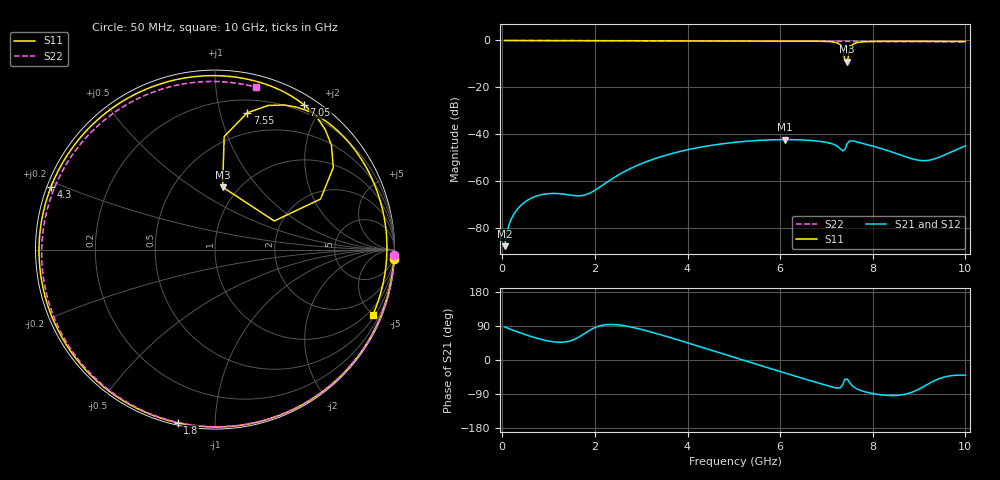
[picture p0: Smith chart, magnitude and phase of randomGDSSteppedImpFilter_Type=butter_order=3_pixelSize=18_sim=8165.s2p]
! freq	dB(S11)	phase(S11)	dB(S12)	phase(S12)
!  dB(S21)	phase(S21)	dB(S22)	phase(S22)
!S-par simulation data
#  GHz  S  DB  R 50
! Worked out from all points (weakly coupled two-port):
!   200 points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, 50 MHz to 10 GHz, reference 50 ohm
!   highest |S21| = -42.32 dB at 6.1 GHz (marker M1); lowest = -87.8 dB at 50 MHz (marker M2)
!   lowest |S11| = -9.1 dB at 7.45 GHz (marker M3), VSWR 2.08, Z = 42.2 + j33.5 ohm
!   |S11| at or under -10 dB: nowhere
!   |S22| runs from -0.6 to 0.0 dB; largest |S21 - S12| = 0
!   S11 on the Smith chart (normalised r, x): 50 MHz: 1, -38; 1.8 GHz: 0.01, -0.81; 4.3 GHz: 0.01, +0.18; 7.05 GHz: 0.11, +1.78; 7.55 GHz: 0.31, +1.22; 10 GHz: 0.63, -4.91
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0.05  -0.01 -3.0  -87.81 87.4  -87.81 87.4  -0.00 -1.6
0.4  -0.04 -24.8  -70.44 71.1  -70.44 71.1  -0.02 -12.8
0.7  -0.06 -43.0  -66.71 59.1  -66.71 59.1  -0.03 -22.4
1.2  -0.08 -71.5  -65.36 47.0  -65.36 47.0  -0.05 -38.1
1.75  -0.11 -99.8  -66.12 67.7  -66.12 67.7  -0.07 -54.9
1.8  -0.11 -102.2  -65.86 71.7  -65.86 71.7  -0.07 -56.4
2.6  -0.14 -137.7  -56.37 91.1  -56.37 91.1  -0.10 -79.7
3.4  -0.16 -168.8  -49.77 67.3  -49.77 67.3  -0.13 -101.9
4.3  -0.19 159.2  -45.48 33.9  -45.48 33.9  -0.17 -125.6
5.05  -0.22 133.6  -43.42 5.3  -43.42 5.3  -0.21 -144.7
6.1  -0.26 97.2  -42.32 -34.2  -42.32 -34.2  -0.28 -171.4
6.7  -0.31 74.8  -42.75 -56.2  -42.75 -56.2  -0.32 173.1
7.05  -0.48 58.4  -43.72 -68.7  -43.72 -68.7  -0.35 163.9
7.3  -1.91 34.8  -46.24 -72.9  -46.24 -72.9  -0.37 157.2
7.35  -3.71 25.6  -47.18 -65.3  -47.18 -65.3  -0.38 155.8
7.4  -8.71 25.8  -46.41 -50.9  -46.41 -50.9  -0.38 154.4
7.45  -9.10 83.0  -43.96 -50.3  -43.96 -50.3  -0.39 153.1
7.55  -2.12 76.7  -42.82 -67.0  -42.82 -67.0  -0.40 150.3
7.8  -0.57 53.6  -44.07 -82.8  -44.07 -82.8  -0.42 143.3
8.35  -0.37 29.9  -47.19 -93.7  -47.19 -93.7  -0.47 127.5
9.15  -0.37 3.0  -51.26 -66.3  -51.26 -66.3  -0.53 103.2
10  -0.43 -22.7  -45.00 -40.0  -45.00 -40.0  -0.60 75.9
